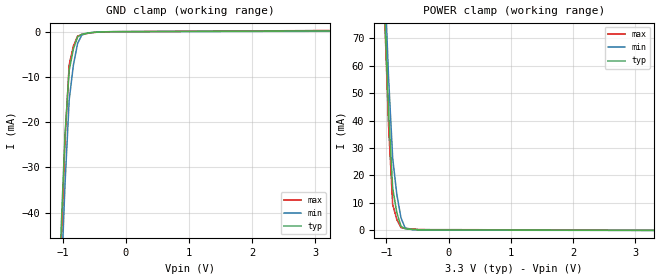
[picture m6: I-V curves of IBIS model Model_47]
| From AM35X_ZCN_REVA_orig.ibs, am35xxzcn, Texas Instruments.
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| Model based on original model for IC1833DVTPBFHP18LL_7LM
|   Sub model 7LM_!PI_!PUPDSEL_3P3
[model]   Model_47
|[Description]  3.3V-INPUT-PD-X
|[Input Load]   PD
|[Output Drive]
|Voltage   3.3V
|Mode   INPUT
Model_type   Input
Polarity   Non-Inverting
Vinl =  0.8V
Vinh =  2V
C_comp   1.012258p   0.8890016p   1.091755p
[Model Spec]
Vinl   0.8V   0.8V   0.8V
Vinh   2V   2V   2V
[Temperature Range]   25   125   -40
[Voltage Range]   3.3   2.97   3.63
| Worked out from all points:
|   GND clamp passes 1 mA (typ) near -0.75 V on its own axis
|   POWER clamp passes 1 mA (typ) near -0.73 V on its own axis
[POWER_clamp]
-3.3V     2.37A      2.826A     2.542A
-1.033V   82.55mA    94.89mA    80.63mA
-966.7mV  43.74mA    56mA       38.47mA
-900mV    15.37mA    26.34mA    9.443mA
-833.3mV  6.477mA    13.09mA    3.921mA
-766.7mV  1.541mA    4.609mA    1.021mA
-700mV    560.4uA    907.9uA    743.2uA
-500mV    249.8uA    143.8uA    371.7uA
3.3V      -147.5pA   -31.33uA   27.53uA
[GND_clamp]
-3.3V     -1.792A    -1.668A    -2.631A
-1.033V   -45.54mA   -57.75mA   -50.28mA
-966.7mV  -22.83mA   -33.82mA   -24.05mA
-900mV    -8.522mA   -15.05mA   -7.278mA
-833.3mV  -3.829mA   -7.369mA   -3.202mA
-766.7mV  -1.175mA   -2.599mA   -991.4uA
-700mV    -560.2uA   -745.4uA   -646.9uA
-566.7mV  -249.1uA   -233.9uA   -286.4uA
-300mV    -29.03uA   -23.37uA   -39.39uA
3.233V    152.3uA    84.63uA    242.6uA
